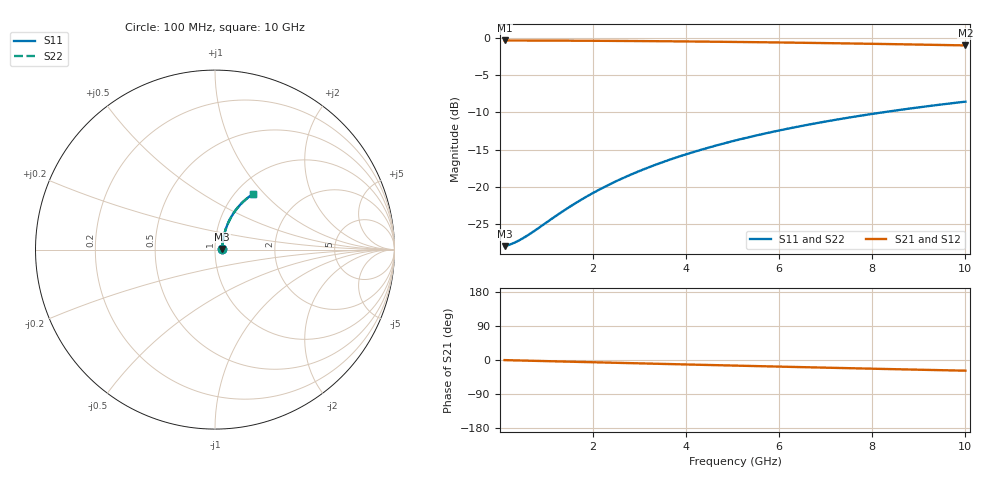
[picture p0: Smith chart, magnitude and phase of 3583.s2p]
# Hz S RI R 50.00
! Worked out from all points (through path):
!   100 points, 100 MHz to 10 GHz, reference 50 ohm
!   highest |S21| = -0.35 dB at 100 MHz (marker M1); lowest = -1.0 dB at 10 GHz (marker M2)
!   group delay of S21, straight-line fit = 7.86 ps
!   lowest |S11| = -28.0 dB at 100 MHz (marker M3), VSWR 1.08, Z = 54.1 + j0.419 ohm
!   |S11| at or under -10 dB: start of sweep to 8.234 GHz
!   |S22| runs from -28.0 to -8.6 dB; largest |S21 - S12| = 0
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1e8  0.0397 0.00386  0.9603 -0.00498  0.9603 -0.00498  0.0397 0.00386
2e8  0.04 0.00772  0.96 -0.00995  0.96 -0.00995  0.04 0.00772
3e8  0.0403 0.0116  0.9597 -0.0149  0.9597 -0.0149  0.0403 0.0116
4e8  0.0406 0.0154  0.9594 -0.0199  0.9594 -0.0199  0.0406 0.0154
5e8  0.0409 0.0193  0.9591 -0.0248  0.9591 -0.0248  0.0409 0.0193
7e8  0.0416 0.0269  0.9584 -0.0348  0.9584 -0.0348  0.0416 0.0269
1.4e9  0.045 0.0536  0.9548 -0.0693  0.9548 -0.0693  0.045 0.0536
1.8e9  0.0478 0.0687  0.952 -0.0888  0.952 -0.0888  0.0478 0.0687
2.2e9  0.0511 0.0837  0.9486 -0.1082  0.9486 -0.1082  0.0511 0.0837
2.6e9  0.055 0.0984  0.9445 -0.1274  0.9445 -0.1274  0.055 0.0984
3e9  0.0595 0.1129  0.9399 -0.1464  0.9399 -0.1464  0.0595 0.1129
3.4e9  0.0645 0.1272  0.9347 -0.1651  0.9347 -0.1651  0.0645 0.1272
3.8e9  0.0701 0.1412  0.9289 -0.1836  0.9289 -0.1836  0.0701 0.1412
4.2e9  0.0762 0.1548  0.9226 -0.2018  0.9226 -0.2018  0.0762 0.1548
4.6e9  0.0828 0.1682  0.9158 -0.2196  0.9158 -0.2196  0.0828 0.1682
5.1e9  0.0918 0.1844  0.9065 -0.2414  0.9065 -0.2414  0.0918 0.1844
5.9e9  0.1076 0.2091  0.8902 -0.2751  0.8902 -0.2751  0.1076 0.2091
6.7e9  0.125 0.2322  0.8721 -0.3072  0.8721 -0.3072  0.125 0.2322
7.5e9  0.1439 0.2535  0.8525 -0.3375  0.8525 -0.3375  0.1439 0.2535
8.4e9  0.1665 0.2753  0.8288 -0.3695  0.8288 -0.3695  0.1665 0.2753
9.2e9  0.1878 0.2926  0.8067 -0.3959  0.8067 -0.3959  0.1878 0.2926
1e10  0.2098 0.3081  0.7837 -0.4205  0.7837 -0.4205  0.2098 0.3081
